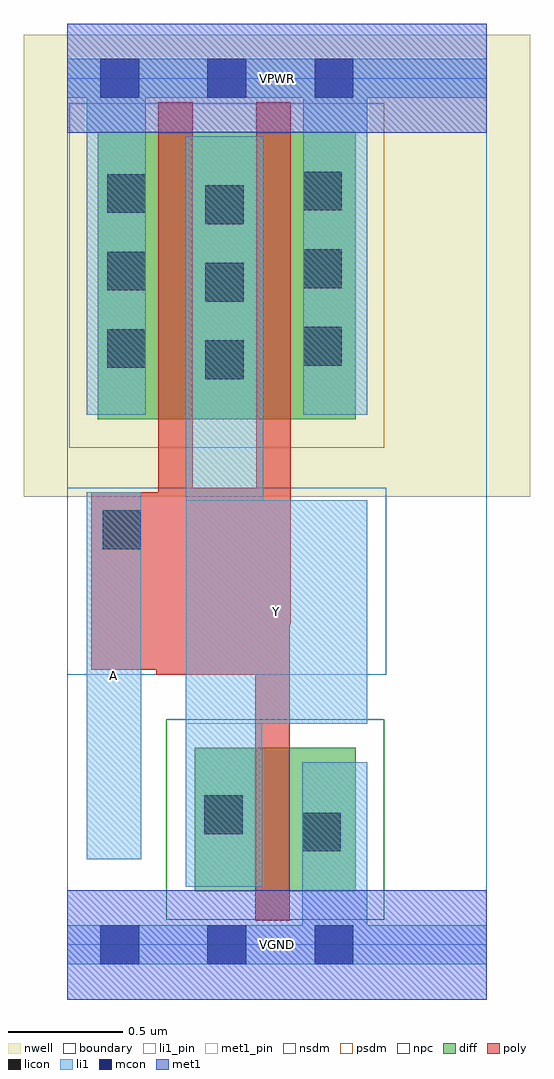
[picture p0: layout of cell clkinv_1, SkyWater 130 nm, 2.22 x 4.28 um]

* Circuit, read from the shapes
.subckt clkinv_1 A VGND VPWR Y
XM1 VGND A Y VSUBS sky130_fd_pr__nfet_01v8 w=0.63 l=0.15
XM2 Y A VPWR n1 sky130_fd_pr__pfet_01v8 w=1.26 l=0.15 m=2
.ends

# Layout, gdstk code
import gdstk
lib = gdstk.Library(unit=1e-6, precision=1e-09)
def R(c, l, rs):  # rectangles x0, y0, x1, y1
    for r in rs: c.add(gdstk.rectangle(r[:2], r[2:], *l))
def A(c, l, x, y, w, h, nx, ny, dx, dy):  # array of equal rectangles
    R(c, l, [(x+i*dx, y+j*dy, x+i*dx+w, y+j*dy+h) for i in range(nx) for j in range(ny)])
nwell = (64, 20)
diff = (65, 20)
poly = (66, 20)
licon = (66, 44)
li1_pin = (67, 16)
li1 = (67, 20)
mcon = (67, 44)
met1_pin = (68, 16)
met1 = (68, 20)
nsdm = (93, 44)
psdm = (94, 20)
npc = (95, 20)
boundary = (235, 4)

clkinv_1 = lib.new_cell('clkinv_1')
R(clkinv_1, nwell, [(-0.19,1.965,2.03,3.99), (0,1.965,1.84,3.99)])
R(clkinv_1, diff, [(0.56,0.235,1.265,0.865), (0.135,2.305,1.265,3.565)])
R(clkinv_1, poly, [(0.825,0.105,0.83,2.005), (0.83,0.105,0.975,3.695), (0.39,1.185,0.975,1.405), (0.4,1.185,0.55,3.695), (0.4,1.185,0.825,2.005), (0.105,1.205,0.975,1.985), (0.83,1.405,0.98,3.695)])
A(clkinv_1, licon, 0.605, 2.48, 0.17, 0.17, 1, 3, 0, 0.34)
A(clkinv_1, licon, 0.175, 2.53, 0.17, 0.17, 1, 3, 0, 0.34)
A(clkinv_1, licon, 1.035, 2.54, 0.17, 0.17, 1, 3, 0, 0.34)
R(clkinv_1, licon, [(1.03,0.41,1.2,0.58), (0.6,0.485,0.77,0.655), (0.155,1.735,0.325,1.905)])
R(clkinv_1, li1_pin, [(0.085,0.375,0.325,1.985), (0.52,0.97,1.315,1.95)])
R(clkinv_1, li1, [(0,-0.085,1.84,0.085), (1.03,-0.085,1.315,0.8), (0.52,0.255,0.855,3.545), (0.085,0.375,0.325,1.985), (0.52,0.97,1.315,1.95), (0.52,0.97,0.86,3.545), (0.085,2.325,0.345,3.885), (1.035,2.325,1.315,3.885), (0,3.715,1.84,3.885)])
A(clkinv_1, mcon, 0.145, -0.085, 0.17, 0.17, 3, 2, 0.47, 3.8)
R(clkinv_1, met1_pin, [(0,-0.24,1.84,0.24), (0,3.56,1.84,4.04)])
R(clkinv_1, met1, [(0,-0.24,1.84,0.24), (0,3.56,1.84,4.04)])
R(clkinv_1, nsdm, [(0.435,0.11,1.39,0.99)])
R(clkinv_1, psdm, [(0.01,2.18,1.39,3.69)])
R(clkinv_1, npc, [(0,1.185,1.4,2.005)])
R(clkinv_1, boundary, [(0,0,1.84,3.8)])
clkinv_1.add(gdstk.Label('A', (0.205,1.18), layer=67, texttype=5))
clkinv_1.add(gdstk.Label('Y', (0.917,1.46), layer=67, texttype=5))
clkinv_1.add(gdstk.Label('VPWR', (0.92,3.8), layer=68, texttype=5))
clkinv_1.add(gdstk.Label('VGND', (0.92,0), layer=68, texttype=5))
clkinv_1.add(gdstk.Label('A', (0.205,1.18), layer=67, texttype=16))
clkinv_1.add(gdstk.Label('Y', (0.917,1.46), layer=67, texttype=16))
clkinv_1.add(gdstk.Label('VPWR', (0.92,3.8), layer=68, texttype=16))
clkinv_1.add(gdstk.Label('VGND', (0.92,0), layer=68, texttype=16))

lib.write_gds('clkinv_1.gds')
